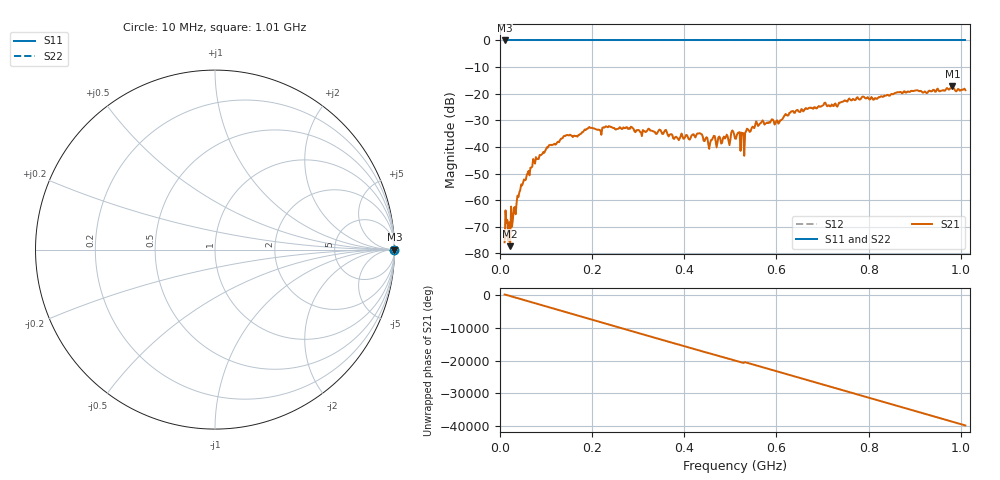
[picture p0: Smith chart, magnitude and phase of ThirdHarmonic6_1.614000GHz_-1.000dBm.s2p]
! 8/16/2025 7:16:06 PM
! C:\ANRITSUVNA\TEMP\TEMP.S2P
! CHANNEL.1
! TR.MEASUREMENT
! RAW.DATA
! RF.CORRECTION.OFF
! AVERAGING.OFF
! IF.BANDWIDTH: 5KHZ
! SWEEPTYPE:  FREQ.SWEEP(Linear)
! Reference Plane Port Info
! PORT:  PORT1  PORT2
! DISTANCE:  0  m  0  m
! TIME:  0  s  0  s
! PHASE.OFFSET:  0  deg.  0  deg.
! LOSS:  0  dB  0  dB
! REF.LOSS:  0  dB  0  dB
! REF.FREQ:  0  Hz  0  Hz
! Power Info
! POWER:  -20  dBm  -20  dBm
! EFF.POWER:  -20  dBm  -20  dBm
! SOURCE.ATTEN:  0  dB  0  dB
! TEST.ATTEN:  0  dB  0  dB
# GHZ S RI R 50.0
! FREQ.GHZ  S11RE  S11IM  S21RE  S21IM  S12RE  S12IM  S22RE  S22IM
!; PortSelection: Port_12
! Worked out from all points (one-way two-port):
!   501 points, 10 MHz to 1.01 GHz, reference 50 ohm
!   highest |S21| = -17.23 dB at 982 MHz (marker M1); lowest = -77.2 dB at 22 MHz (marker M2)
!   lowest |S11| = 0.0 dB at 10 MHz (marker M3)
!   |S11| at or under -10 dB: nowhere
!   |S22| runs from 0.0 to 0.0 dB; largest |S21 - S12| = 1.1
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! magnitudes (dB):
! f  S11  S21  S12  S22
! 10 MHz  0.0  -75.8  0.0  0.0
! 16 MHz  0.0  -67.4  0.0  0.0
! 18 MHz  0.0  -75.1  0.0  0.0
! 22 MHz  0.0  -77.2  0.0  0.0
! 42 MHz  0.0  -57.0  0.0  0.0
! 76 MHz  0.0  -46.2  0.0  0.0
! 142 MHz  0.0  -35.9  0.0  0.0
! 178 MHz  0.0  -34.5  0.0  0.0
! 234 MHz  0.0  -32.6  0.0  0.0
! 344 MHz  0.0  -33.9  0.0  0.0
! 386 MHz  0.0  -36.8  0.0  0.0
! 434 MHz  0.0  -34.8  0.0  0.0
! 456 MHz  0.0  -38.6  0.0  0.0
! 462 MHz  0.0  -36.5  0.0  0.0
! 510 MHz  0.0  -36.8  0.0  0.0
! 526 MHz  0.0  -35.0  0.0  0.0
! 536 MHz  0.0  -33.1  0.0  0.0
! 558 MHz  0.0  -31.2  0.0  0.0
! 678 MHz  0.0  -25.6  0.0  0.0
! 844 MHz  0.0  -20.8  0.0  0.0
! 982 MHz  0.0  -17.2  0.0  0.0
! 1.01 GHz  0.0  -18.7  0.0  0.0
